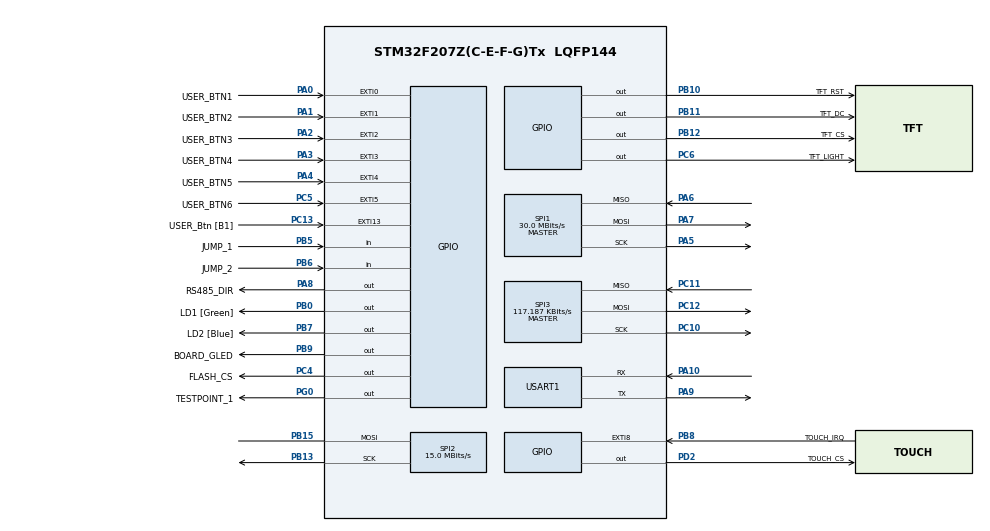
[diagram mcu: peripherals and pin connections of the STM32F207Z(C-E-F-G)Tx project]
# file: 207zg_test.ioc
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Dma.Request0=SPI2_TX
Dma.Request1=SPI1_RX
Dma.Request2=SPI1_TX
Dma.SPI1_RX.1.Direction=DMA_PERIPH_TO_MEMORY
Dma.SPI1_RX.1.FIFOMode=DMA_FIFOMODE_DISABLE
Dma.SPI1_RX.1.Instance=DMA2_Stream2
Dma.SPI1_RX.1.MemDataAlignment=DMA_MDATAALIGN_BYTE
Dma.SPI1_RX.1.MemInc=DMA_MINC_ENABLE
Dma.SPI1_RX.1.Mode=DMA_NORMAL
Dma.SPI1_RX.1.PeriphDataAlignment=DMA_PDATAALIGN_BYTE
Dma.SPI1_RX.1.PeriphInc=DMA_PINC_DISABLE
Dma.SPI1_RX.1.Priority=DMA_PRIORITY_LOW
Dma.SPI1_TX.2.Direction=DMA_MEMORY_TO_PERIPH
Dma.SPI1_TX.2.FIFOMode=DMA_FIFOMODE_DISABLE
Dma.SPI1_TX.2.Instance=DMA2_Stream3
Dma.SPI1_TX.2.MemDataAlignment=DMA_MDATAALIGN_BYTE
Dma.SPI1_TX.2.MemInc=DMA_MINC_ENABLE
Dma.SPI1_TX.2.Mode=DMA_NORMAL
Dma.SPI1_TX.2.PeriphDataAlignment=DMA_PDATAALIGN_BYTE
Dma.SPI1_TX.2.PeriphInc=DMA_PINC_DISABLE
Dma.SPI1_TX.2.Priority=DMA_PRIORITY_LOW
Dma.SPI2_TX.0.Direction=DMA_MEMORY_TO_PERIPH
Dma.SPI2_TX.0.FIFOMode=DMA_FIFOMODE_DISABLE
Dma.SPI2_TX.0.Instance=DMA1_Stream4
Dma.SPI2_TX.0.MemDataAlignment=DMA_MDATAALIGN_HALFWORD
Dma.SPI2_TX.0.MemInc=DMA_MINC_ENABLE
Dma.SPI2_TX.0.Mode=DMA_NORMAL
Dma.SPI2_TX.0.PeriphDataAlignment=DMA_PDATAALIGN_HALFWORD
Dma.SPI2_TX.0.PeriphInc=DMA_PINC_DISABLE
Dma.SPI2_TX.0.Priority=DMA_PRIORITY_MEDIUM
Mcu.Family=STM32F2
Mcu.Name=STM32F207Z(C-E-F-G)Tx
Mcu.Package=LQFP144
NVIC.DMA1_Stream4_IRQn=true\:0\:0\:false\:false\:true\:false\:true
NVIC.DMA2_Stream2_IRQn=true\:0\:0\:false\:false\:true\:false\:true
NVIC.DMA2_Stream3_IRQn=true\:0\:0\:false\:false\:true\:false\:true
NVIC.EXTI0_IRQn=true\:3\:0\:true\:false\:true\:true\:true
NVIC.EXTI1_IRQn=true\:1\:0\:true\:false\:true\:true\:true
NVIC.EXTI2_IRQn=true\:5\:0\:true\:false\:true\:true\:true
NVIC.EXTI3_IRQn=true\:0\:0\:false\:false\:true\:true\:true
NVIC.EXTI4_IRQn=true\:0\:0\:false\:false\:true\:true\:true
NVIC.PriorityGroup=NVIC_PRIORITYGROUP_4
NVIC.TIM2_IRQn=true\:0\:0\:false\:false\:true\:true\:true
NVIC.TIM5_IRQn=true\:0\:0\:false\:false\:true\:true\:true
NVIC.USART1_IRQn=true\:0\:0\:false\:false\:true\:true\:true
PA0-WKUP.GPIO_Label=USER_BTN1
PA0-WKUP.GPIO_ModeDefaultEXTI=GPIO_MODE_IT_RISING
PA0-WKUP.GPIO_PuPd=GPIO_PULLUP
PA0-WKUP.Signal=GPXTI0
PA1.GPIO_Label=USER_BTN2
PA1.GPIO_PuPd=GPIO_PULLUP
PA1.Signal=GPXTI1
PA10.Mode=Asynchronous
PA10.Signal=USART1_RX
PA11.GPIO_Label=USB_DM
PA11.Signal=USB_OTG_FS_DM
PA12.GPIO_Label=USB_DP
PA12.Signal=USB_OTG_FS_DP
PA13.GPIO_Label=TMS
PA13.Mode=Serial_Wire
PA13.Signal=SYS_JTMS-SWDIO
PA14.GPIO_Label=TCK
PA14.Mode=Serial_Wire
PA14.Signal=SYS_JTCK-SWCLK
PA2.GPIO_Label=USER_BTN3
PA2.GPIO_PuPd=GPIO_PULLUP
PA2.Signal=GPXTI2
PA3.GPIO_Label=USER_BTN4
PA3.GPIO_PuPd=GPIO_PULLUP
PA3.Signal=GPXTI3
PA4.GPIO_Label=USER_BTN5
PA4.GPIO_PuPd=GPIO_PULLUP
PA4.Signal=GPXTI4
PA5.Mode=Full_Duplex_Master
PA5.Signal=SPI1_SCK
PA6.Mode=Full_Duplex_Master
PA6.Signal=SPI1_MISO
PA7.Mode=Full_Duplex_Master
PA7.Signal=SPI1_MOSI
PA8.GPIO_Label=RS485_DIR
PA8.GPIO_ModeDefaultOutputPP=GPIO_MODE_OUTPUT_PP
PA8.GPIO_Speed=GPIO_SPEED_FREQ_MEDIUM
PA8.Signal=GPIO_Output
PA9.Mode=Asynchronous
PA9.Signal=USART1_TX
PB0.GPIO_Label=LD1 [Green]
PB0.Signal=GPIO_Output
PB10.GPIO_Label=TFT_RST
PB10.Signal=GPIO_Output
PB11.GPIO_Label=TFT_DC
PB11.GPIO_Speed=GPIO_SPEED_FREQ_HIGH
PB11.Signal=GPIO_Output
PB12.GPIO_Label=TFT_CS
PB12.GPIO_Speed=GPIO_SPEED_FREQ_HIGH
PB12.Signal=GPIO_Output
PB13.Mode=Simplex_Bidirectional_Master
PB13.Signal=SPI2_SCK
PB14.Signal=SPI2_MISO
PB15.Mode=Simplex_Bidirectional_Master
PB15.Signal=SPI2_MOSI
PB3.GPIO_Label=SWO
PB3.Signal=SYS_JTDO-SWO
PB5.GPIO_Label=JUMP_1
PB5.GPIO_PuPd=GPIO_PULLUP
PB5.Signal=GPIO_Input
PB6.GPIO_Label=JUMP_2
PB6.GPIO_PuPd=GPIO_PULLUP
PB6.Signal=GPIO_Input
PB7.GPIO_Label=LD2 [Blue]
PB7.Signal=GPIO_Output
PB8.GPIO_Label=TOUCH_IRQ
PB8.GPIO_ModeDefaultEXTI=GPIO_MODE_IT_RISING
PB8.GPIO_PuPd=GPIO_PULLUP
PB8.Signal=GPXTI8
PB9.GPIO_Label=BOARD_GLED
PB9.GPIO_Speed=GPIO_SPEED_FREQ_VERY_HIGH
PB9.Signal=GPIO_Output
PC1.GPIO_Label=RMII_MDC [LAN8742A-CZ-TR_MDC]
PC1.Signal=ETH_MDC
PC10.Mode=Full_Duplex_Master
PC10.Signal=SPI3_SCK
PC11.Mode=Full_Duplex_Master
PC11.Signal=SPI3_MISO
PC12.Mode=Full_Duplex_Master
PC12.Signal=SPI3_MOSI
PC13.GPIO_Label=USER_Btn [B1]
PC13.Signal=GPXTI13
PC14-OSC32_IN.Mode=LSE-External-Oscillator
PC14-OSC32_IN.Signal=RCC_OSC32_IN
PC15-OSC32_OUT.Mode=LSE-External-Oscillator
PC15-OSC32_OUT.Signal=RCC_OSC32_OUT
PC4.GPIO_Label=FLASH_CS
PC4.GPIO_Speed=GPIO_SPEED_FREQ_HIGH
PC4.Signal=GPIO_Output
PC5.GPIO_Label=USER_BTN6
PC5.Signal=GPXTI5
PC6.GPIO_Label=TFT_LIGHT
PC6.Signal=GPIO_Output
PD2.GPIO_Label=TOUCH_CS
PD2.GPIO_Speed=GPIO_SPEED_FREQ_MEDIUM
PD2.Signal=GPIO_Output
PD8.GPIO_Label=STLK_RX [STM32F103CBT6_PA3]
PD8.Signal=USART3_TX
PD9.GPIO_Label=STLK_TX [STM32F103CBT6_PA2]
PD9.Signal=USART3_RX
PG0.GPIO_Label=TESTPOINT_1
PG0.Signal=GPIO_Output
PG11.GPIO_Label=RMII_TX_EN [LAN8742A-CZ-TR_TXEN]
PG11.Signal=ETH_TX_EN
PG13.GPIO_Label=RMII_TXD0 [LAN8742A-CZ-TR_TXD0]
PG13.Signal=ETH_TXD0
PH0-OSC_IN.GPIO_Label=MCO [STM32F103CBT6_PA8]
PH0-OSC_IN.Mode=HSE-External-Clock-Source
PH0-OSC_IN.Signal=RCC_OSC_IN
PH1-OSC_OUT.Mode=HSE-External-Clock-Source
PH1-OSC_OUT.Signal=RCC_OSC_OUT
ProjectManager.HeapSize=0x200
ProjectManager.StackSize=0x400
ProjectManager.TargetToolchain=SW4STM32
RCC.48MHZClocksFreq_Value=48000000
RCC.AHBFreq_Value=120000000
RCC.APB1CLKDivider=RCC_HCLK_DIV4
RCC.APB1Freq_Value=30000000
RCC.APB1TimFreq_Value=60000000
RCC.APB2CLKDivider=RCC_HCLK_DIV2
RCC.APB2Freq_Value=60000000
RCC.APB2TimFreq_Value=120000000
RCC.CortexFreq_Value=120000000
RCC.HCLKFreq_Value=120000000
RCC.HSE_VALUE=8000000
RCC.HSI_VALUE=16000000
RCC.PLLM=13
RCC.PLLMUL=RCC_PLL_MUL9
RCC.PLLN=195
RCC.PLLQ=5
RCC.PRESCALERUSB=RCC_USBCLKSOURCE_PLL_DIV1_5
RCC.SYSCLKFreq_VALUE=120000000
RCC.SYSCLKSource=RCC_SYSCLKSOURCE_PLLCLK
RCC.SYSCLKSourceVirtual=RCC_SYSCLKSOURCE_PLLCLK
RCC.USBFreq_Value=48000000
RCC.VCOOutputFreq_Value=240000000
SPI1.BaudRatePrescaler=SPI_BAUDRATEPRESCALER_2
SPI1.CLKPhase=SPI_PHASE_1EDGE
SPI1.CLKPolarity=SPI_POLARITY_LOW
SPI1.CalculateBaudRate=30.0 MBits/s
SPI1.DataSize=SPI_DATASIZE_8BIT
SPI1.Direction=SPI_DIRECTION_2LINES
SPI1.Mode=SPI_MODE_MASTER
SPI1.VirtualType=VM_MASTER
SPI2.BaudRatePrescaler=SPI_BAUDRATEPRESCALER_2
SPI2.CalculateBaudRate=15.0 MBits/s
SPI2.Direction=SPI_DIRECTION_1LINE
SPI2.Mode=SPI_MODE_MASTER
SPI2.VirtualType=VM_MASTER
SPI3.BaudRatePrescaler=SPI_BAUDRATEPRESCALER_256
SPI3.CalculateBaudRate=117.187 KBits/s
SPI3.Direction=SPI_DIRECTION_2LINES
SPI3.Mode=SPI_MODE_MASTER
SPI3.VirtualType=VM_MASTER
TIM2.AutoReloadPreload=TIM_AUTORELOAD_PRELOAD_ENABLE
TIM2.Period=124
TIM2.Prescaler=119
TIM5.AutoReloadPreload=TIM_AUTORELOAD_PRELOAD_ENABLE
TIM5.CounterMode=TIM_COUNTERMODE_DOWN
TIM5.Period=200
TIM5.Prescaler=29
USART1.VirtualMode=VM_ASYNC
VP_TIM2_VS_ClockSourceINT.Mode=Internal
VP_TIM5_VS_ClockSourceINT.Mode=Internal
VP_TIM5_VS_OPM.Mode=OPM_bit
board=NUCLEO-F207ZG

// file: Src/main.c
/* USER CODE BEGIN Header */
/**
  ******************************************************************************
  * @file           : main.c
  * @brief          : Main program body
  ******************************************************************************
  * @attention
  *
  * <h2><center>&copy; Copyright (c) 2020 STMicroelectronics.
  * All rights reserved.</center></h2>
  *
  * This software component is licensed by ST under BSD 3-Clause license,
  * the "License"; You may not use this file except in compliance with the
  * License. You may obtain a copy of the License at:
  *                        opensource.org/licenses/BSD-3-Clause
  *
  ******************************************************************************
  */
/* USER CODE END Header */
#include "main.h"
#include "dma.h"
#include "spi.h"
#include "tim.h"
#include "usart.h"
#include "gpio.h"

/* USER CODE BEGIN Includes */
#include <stdio.h>
#include <stdlib.h>
#include <string.h>
//#include <core_cm3.h>
#include "disptft.h"
#include "XPT2046.h"
#include "font.h"
#include "bitmap.h"
#include "EEProm.h"
#include "Algorithm.h"
#include "CommRequest.h"
#include "Flash2TFT_transf.h"
#include "Ventilo.h"

/* USER CODE END Includes */

/* USER CODE BEGIN PV */
volatile uint32_t stime = 0;
volatile uint8_t USART_stime = 1;

uint8_t CommBuf[COMBUF_DIM];
int rx_pointer;
int tx_pointer;
int tx_lenbuf, rx_lenbuf;
uint8_t LedBoard_toggle = 0;
uint32_t Backlight_toggle = 0;

/* USER CODE END PV */

void SystemClock_Config(void);
/* USER CODE BEGIN PFP */
//extern const unsigned char Neolo_Icon_map[];
//extern const unsigned char galaxy_320x240_2_map[];
/* USER CODE END PFP */

/* USER CODE BEGIN 0 */
char        bttn[5] = {0, 0, 0, 0, 0};
uint16_t    Player[6] = {};

//extern const uint8_t img_bubble_pattern_map[];

/* USER CODE END 0 */

int main(void)
{
  /* USER CODE BEGIN 1 */
    int i;
    char buffer1[40];
    char reboot_ask = 0;

  /* USER CODE END 1 */

  /* MCU Configuration--------------------------------------------------------*/

  /* Reset of all peripherals, Initializes the Flash interface and the Systick. */

  LL_APB2_GRP1_EnableClock(LL_APB2_GRP1_PERIPH_SYSCFG);
  LL_APB1_GRP1_EnableClock(LL_APB1_GRP1_PERIPH_PWR);

  NVIC_SetPriorityGrouping(NVIC_PRIORITYGROUP_4);

  /* System interrupt init*/

  /* USER CODE BEGIN Init */
  memset(bttn, 0, sizeof(bttn));
  memset(buffer1, 0, sizeof(buffer1));
  /* USER CODE END Init */

  /* Configure the system clock */
  SystemClock_Config();

  /* USER CODE BEGIN SysInit */
  SysTick_Config(SystemCoreClock / 10000);
  /* USER CODE END SysInit */

  /* Initialize all configured peripherals */
  MX_GPIO_Init();
  MX_DMA_Init();
  MX_SPI1_Init();
  MX_SPI2_Init();
  MX_SPI3_Init();
  MX_USART1_UART_Init();
  MX_TIM2_Init();
  MX_TIM5_Init();
  /* USER CODE BEGIN 2 */

  LL_TIM_EnableIT_UPDATE(TIM2);
  LL_TIM_EnableCounter(TIM2);
  //LL_TIM_GenerateEvent_UPDATE(TIM2);

  LL_TIM_ClearFlag_UPDATE(TIM5);
  LL_TIM_EnableIT_UPDATE(TIM5);

//  LL_TIM_EnableCounter(TIM7);

  LL_GPIO_TogglePin(LD2_GPIO_Port, LD2_Pin);

  //RS485 direction = read
  USART1_Interrupts_Enable();
  //LL_GPIO_ResetOutputPin(RS485_DIR_GPIO_Port, RS485_DIR_Pin);
  COMM485_RX;

  // test for SPI EEPROM on SPI1
  EEPROM_DISABLE;
  LL_SPI_Enable(SPI1);
  LL_mDelay(10);

  FlashToTFT_transf_Init();

  uint8_t       data[4] = {0, 0, 0, 0};
  unsigned int  answ = 0, n = 0;

  Player[0] = 987;
  Player[1] = 100;
  Player[2] = 123;
  Player[3] = 77;
  Player[4] = 321;
  Player[5] = 456;

  //LL_SPI_TransmitData8 (SPI1, 0x9F);
  //while (1)
  i = 0;
  {
      // JEDEC-ID Read
      EEPROM_ENABLE;
      //while(!LL_SPI_IsActiveFlag_TXE(SPI1))    {}
      LL_SPI_TransmitData8 (SPI1, 0x9F);
      while(!LL_SPI_IsActiveFlag_RXNE(SPI1)) {}
      LL_SPI_ReceiveData8 (SPI1);
      //while(!LL_SPI_IsActiveFlag_TXE(SPI1))    {}
      LL_SPI_TransmitData8 (SPI1, 0x00);
      while(!LL_SPI_IsActiveFlag_RXNE(SPI1)) {}
      data[i++] = LL_SPI_ReceiveData8 (SPI1);
      //while(!LL_SPI_IsActiveFlag_TXE(SPI1))    {}
      LL_SPI_TransmitData8 (SPI1, 0x00);
      while(!LL_SPI_IsActiveFlag_RXNE(SPI1)) {}
      data[i++] = LL_SPI_ReceiveData8 (SPI1);
      //while(!LL_SPI_IsActiveFlag_TXE(SPI1))    {}
      LL_SPI_TransmitData8 (SPI1, 0x00);
      while(!LL_SPI_IsActiveFlag_RXNE(SPI1)) {}
      data[i++] = LL_SPI_ReceiveData8 (SPI1);

      LL_mDelay(10);
      EEPROM_DISABLE;

      while (LL_SPI_IsActiveFlag_BSY(SPI1)) {}  //test!

      answ   = data[0];
      answ <<= 8;
      answ  |= data[1];
      answ <<= 8;
      answ  |= data[2];
//      answ <<= 8;      answ  |= data[3];

  }     // end JEDEC-ID Read

  //LL_SPI_Enable(SPI2);
  //XPT2046_init();

  TFT_Init(TFT_HORIZONTAL1, BLUE);
  TFT_SetFont(Courier_New_Bold_20, 1);
//  TFT_SetFont(Terminal6x8, 1);
  TFT_ConstText("Hello World!", 0, 0, BLACK, WHITE);
//  TFT_TextCENTER((char*)"Center Text :)", 40, LIGHTGREEN, BLUE);
  TFT_TextCENTER((char*)" !# ", 40, LIGHTGREEN, BLUE);

  TFT_Icon(icon1, 50, 20, 28, 36);
  for(i = 41; i > 2; i--)
  {
      sprintf(buffer1, "Version 0x%X ", answ);
      TFT_Text(buffer1, 20, 82, BLACK, WHITE);
      LL_mDelay(100);
  }

  TFT_FillScreen(BLUE);
  answ = 0;

  /* USER CODE END 2 */

  /* Infinite loop */
  /* USER CODE BEGIN WHILE */
//  int b = 20;
  uint8_t buf[100];
  memset(buf, 0, sizeof(buf));

  while (1)
  {
    /* USER CODE END WHILE */

    /* USER CODE BEGIN 3 */
    if(LedBoard_toggle)
    {
        LedBoard_toggle = 0;
        LL_GPIO_TogglePin(BOARD_GLED_GPIO_Port, BOARD_GLED_Pin);
    }

    n = !n;
    if (bttn[0])
    {
        //          answ = GetJedec();
        //          answ = GetStatusRegister();
        uint64_t bp = ReadBlockProtection();
        TFT_SetFont(Courier_New_Bold_20, 1);
        n = 4;
        TFT_SetScale(n);
//        sprintf(buffer1, "EEP=0x%02X%08X !", (unsigned int)(bp>>32)&0xFF, (unsigned int)bp);
        sprintf(buffer1, "123 456 789", n);
//        TFT_Text(buffer1, 20, 100, LIGHTGREEN, BLUE);
        TFT_ConstTextScale(buffer1, 10, 120, LIGHTRED, WHITE);
        TFT_SetFont(Courier_New_Bold_20, 1);
        FlashWriteDisable();
        bttn[0] = 0;
    }

    if (bttn[1])
    {
        answ = GetStatusRegister();
        TFT_FillScreenDMA(LIGHTBLUE);
        n = 2;
        TFT_SetScale(2);
//        TFT_SetFont(Terminal6x8, 0);

        n = GetConfigRegister();
        sprintf(buffer1, "S&C=0x%02X.%02X", answ, n);
//        TFT_Text(buffer1, 20, 82, BLACK, WHITE);
        TFT_ConstTextScale(buffer1, 10, 82, LIGHTRED, WHITE);
        TFT_SetFont(Courier_New_Bold_20, 1);
        LL_mDelay(10);
        bttn[1] = 0;
    }

    if (bttn[2])
    {
        memset(buf, 0, sizeof(buf));
        //          LL_GPIO_TogglePin(TFT_LIGHT_GPIO_Port, TFT_LIGHT_Pin);
        FlashReadBlock(buf, 0, 16);
        sprintf(buffer1, "Delay = %d ", answ);
//        TFT_Text(buffer1, 20, 82, RED, WHITE);

        Draw_Ventilazio(Player);

        bttn[2] = 0;
    }

    if (bttn[3])
    {
        n = 0;
        n = answ & 0x02;
        if (answ == 0 || n)
        {
            //scrivi!
            for(int n = 0; n < 20; n++)
                buf[n] =0x20+n;
            FlashWriteEnable();
            answ = GetStatusRegister();
            n = GetConfigRegister();

            //WriteALLBlockProtection();
            //              GlobalWriteProtectionUnlock();
            //SectorErase(0, 1);
            //Devo aspettare finchи non azzera, leggendone lo stato!

            answ = GetStatusRegister();
            n = GetConfigRegister();
            LL_mDelay(10);
            //FlashWriteEnable();    //is it necessary?

            //FlashPageProgram(buf, 0, 17);
            LL_mDelay(10);
            //FlashWriteDisable();
            LL_mDelay(10);
        }
        answ = GetStatusRegister();
        sprintf(buffer1, "Status = %02X - ", answ);
        TFT_Text(buffer1, 20, 82, RED, WHITE);
        bttn[3] = 0;
    }

    if (bttn[4])
    {
        TFT_FillScreenDMA(BLACK);

        FlashToTFT_Server();

        answ = GetJedec();
        sprintf(buffer1, "Jedec = %06X", answ);
        TFT_TextCENTER(buffer1, 220, WHITE, BLACK);
        bttn[4] = 0;

//        SetConfigRegister(0);
    }

    /////////////////////SERIAL COMMUNICATIONS/////////////////////////////////////////

    if (USART_stime == 0 && rx_pointer != 0)
    {
        USART_stime = 1;
        //Elaborazione messaggio ricevuto!
        if (  !CRC161(CommBuf, rx_lenbuf))
        {
            COMM485_TX;

            //gestisco il comando:

            //Solo in caso != da indirizzo interno!!!

            tx_lenbuf = HandleCommMsg(CommBuf, rx_lenbuf);
            tx_pointer = 0;

            //Trasmetto qualcosa:
            //              tx_lenbuf = 20;
            //              for (int n = 0; n < 20; n++)                  CommBuf[n] = 'A' + n;
            uint16_t crc =CRC161(CommBuf, tx_lenbuf);
            CommBuf[tx_lenbuf++] = crc>>8;
            CommBuf[tx_lenbuf++] = crc;
            LL_USART_TransmitData8(USART1, CommBuf[tx_pointer++]);
            LL_USART_EnableIT_TXE(USART1);
            if (CommBuf[2] == SYSTEM_REBOOT)
                reboot_ask = 1;
        }
        rx_pointer = 0;
        rx_lenbuf = 0;
    }

    ///////////////////////SYSTEM REBOOT///////////////////////////////////////////////

    if (reboot_ask && tx_pointer == tx_lenbuf )
    {
        LL_mDelay(30);
        __NVIC_SystemReset();
    }

  }
  /* USER CODE END 3 */
}

void SystemClock_Config(void)
{
  LL_FLASH_SetLatency(LL_FLASH_LATENCY_3);
  while(LL_FLASH_GetLatency()!= LL_FLASH_LATENCY_3)
  {
  }
  LL_RCC_HSI_Enable();

   /* Wait till HSI is ready */
  while(LL_RCC_HSI_IsReady() != 1)
  {

  }
  LL_RCC_HSI_SetCalibTrimming(16);
  LL_RCC_PLL_ConfigDomain_SYS(LL_RCC_PLLSOURCE_HSI, LL_RCC_PLLM_DIV_13, 195, LL_RCC_PLLP_DIV_2);
  LL_RCC_PLL_Enable();

   /* Wait till PLL is ready */
  while(LL_RCC_PLL_IsReady() != 1)
  {

  }
  LL_RCC_SetAHBPrescaler(LL_RCC_SYSCLK_DIV_1);
  LL_RCC_SetAPB1Prescaler(LL_RCC_APB1_DIV_4);
  LL_RCC_SetAPB2Prescaler(LL_RCC_APB2_DIV_2);
  LL_RCC_SetSysClkSource(LL_RCC_SYS_CLKSOURCE_PLL);

   /* Wait till System clock is ready */
  while(LL_RCC_GetSysClkSource() != LL_RCC_SYS_CLKSOURCE_STATUS_PLL)
  {

  }
  LL_Init1msTick(120000000);
  LL_SetSystemCoreClock(120000000);
}

void Error_Handler(void)
{
}

/************************ (C) COPYRIGHT STMicroelectronics *****END OF FILE****/
